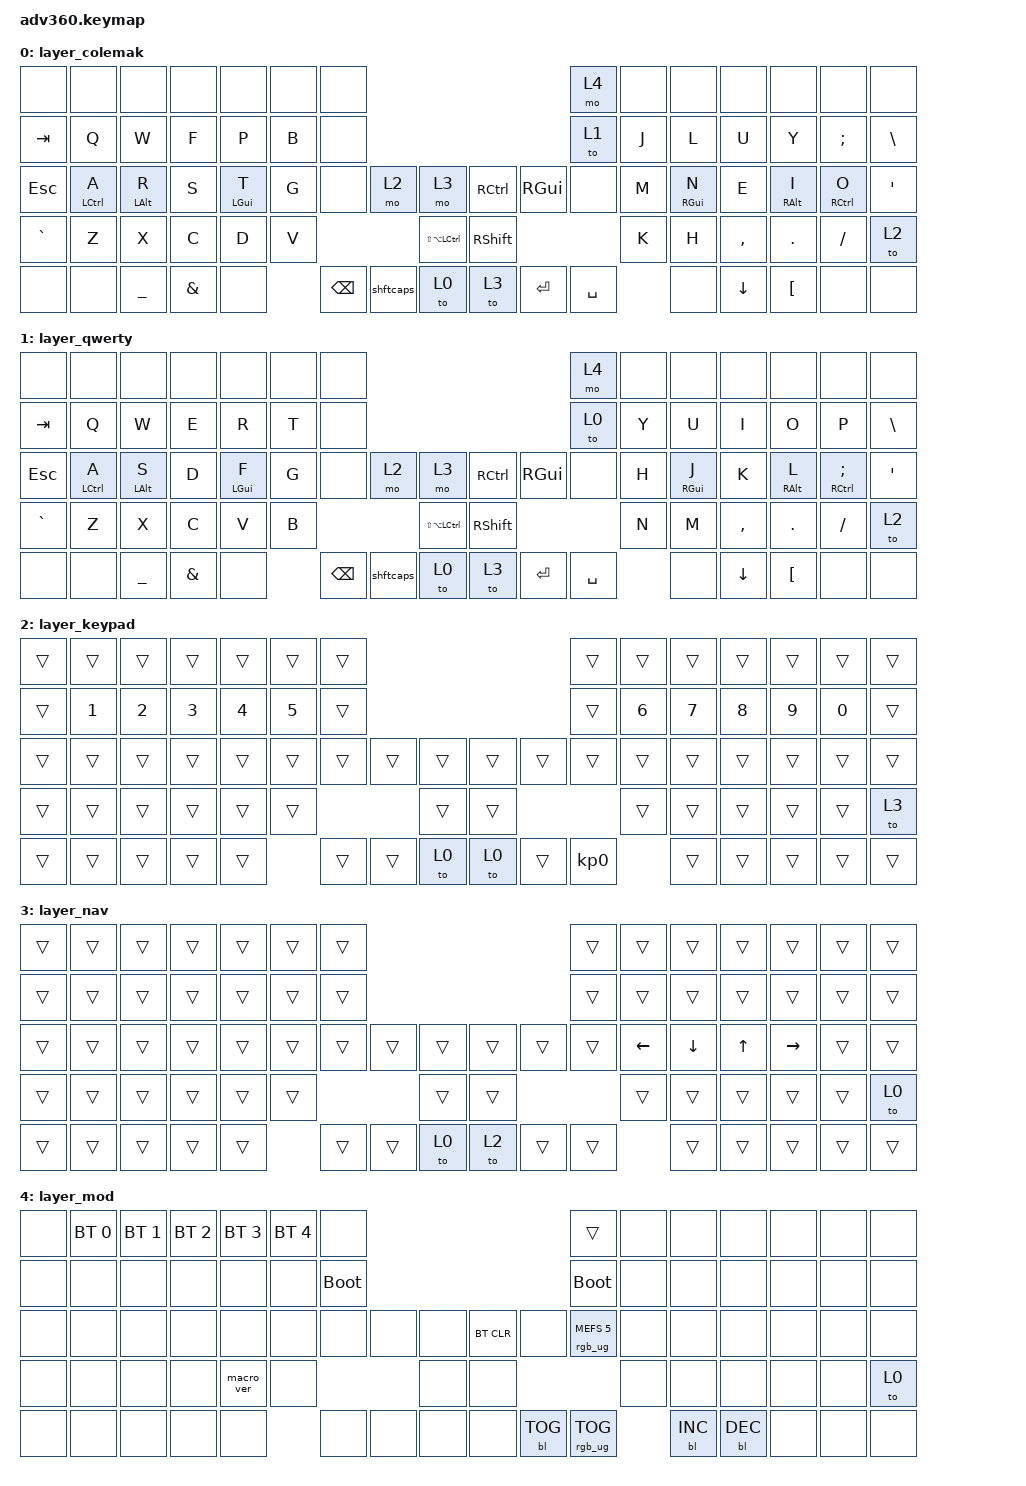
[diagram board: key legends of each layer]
/*
 * Copyright (c) 2020 The ZMK Contributors
 *
 * SPDX-License-Identifier: MIT
 */
/* THIS FILE WAS GENERATED!
 *
 * This file was generated automatically. You may or may not want to
 * edit it directly.
 */

#include "keydef.h"
#include <behaviors.dtsi>
#include <dt-bindings/zmk/backlight.h>
#include <dt-bindings/zmk/bt.h>
#include <dt-bindings/zmk/keys.h>
#include <dt-bindings/zmk/rgb.h>

#define LHYPER LS(LA(LC(LGUI)))
#define RHYPER RS(RA(RC(RGUI)))
#define LMEH   LS(LA(LCTL))
#define RMEH   RS(RA(RCTL))

#define HM_TAPPING_TERM 300
#define HM_QUICK_TAP    175
#define HM_PRIOR_IDLE   150

#define COMBO_H_TIMEOUT 18
#define COMBO_H_IDLE    150
#define COMBO_V_IDLE    50
#define COMBO_V_TIMEOUT 50

/ {
    combos {
        compatible = "zmk,combos";
        combo_braces {
            timeout-ms = <COMBO_H_TIMEOUT>;
            require-prior-idle-ms = <COMBO_H_IDLE>;
            key-positions = <LT2 LT3>;
            bindings = <&braces>;
            layers = <0 1 2>;
        };

        combo_parens {
            timeout-ms = <COMBO_H_TIMEOUT>;
            require-prior-idle-ms = <COMBO_H_IDLE>;
            key-positions = <LT3 LT4>;
            bindings = <&parens>;
            layers = <0 1 2>;
        };

        combo_brackets {
            timeout-ms = <COMBO_H_TIMEOUT>;
            require-prior-idle-ms = <COMBO_H_IDLE>;
            key-positions = <LT1 LT2>;
            bindings = <&brackets>;
            layers = <0 1 2>;
        };

        combo_equals {
            timeout-ms = <COMBO_H_TIMEOUT>;
            require-prior-idle-ms = <COMBO_H_IDLE>;
            key-positions = <LM1 LM2>;
            bindings = <&kp EQUAL>;
            layers = <0 1 2>;
        };

        combo_minus {
            timeout-ms = <COMBO_H_TIMEOUT>;
            require-prior-idle-ms = <COMBO_H_IDLE>;
            key-positions = <LM2 LM3>;
            bindings = <&kp MINUS>;
            layers = <0 1 2>;
        };

        combo_plus {
            timeout-ms = <COMBO_H_TIMEOUT>;
            require-prior-idle-ms = <COMBO_H_IDLE>;
            key-positions = <LM3 LM4>;
            bindings = <&kp PLUS>;
            layers = <0 1 2>;
        };

        combo_dollarsign {
            timeout-ms = <COMBO_H_TIMEOUT>;
            require-prior-idle-ms = <COMBO_H_IDLE>;
            key-positions = <LB1 LB2>;
            bindings = <&kp DOLLAR>;
            layers = <0 1 2>;
        };

        combo_percent {
            timeout-ms = <COMBO_H_TIMEOUT>;
            require-prior-idle-ms = <COMBO_H_IDLE>;
            key-positions = <LB2 LB3>;
            bindings = <&kp PERCENT>;
            layers = <0 1 2>;
        };

        combo_carat {
            timeout-ms = <COMBO_H_TIMEOUT>;
            require-prior-idle-ms = <COMBO_H_IDLE>;
            key-positions = <LB3 LB4>;
            bindings = <&kp CARET>;
            layers = <0 1 2>;
        };

        combo_exclamation {
            timeout-ms = <COMBO_H_TIMEOUT>;
            require-prior-idle-ms = <COMBO_H_IDLE>;
            key-positions = <RT2 RT3>;
            bindings = <&kp EXCLAMATION>;
            layers = <0>;
        };

        combo_amp {
            timeout-ms = <COMBO_H_TIMEOUT>;
            require-prior-idle-ms = <COMBO_H_IDLE>;
            key-positions = <RT3 RT4>;
            bindings = <&kp AMPERSAND>;
            layers = <0>;
        };

        combo_ast {
            timeout-ms = <COMBO_H_TIMEOUT>;
            require-prior-idle-ms = <COMBO_H_IDLE>;
            key-positions = <RT4 RT5>;
            bindings = <&kp STAR>;
            layers = <0>;
        };

        combo_at {
            timeout-ms = <COMBO_H_TIMEOUT>;
            require-prior-idle-ms = <COMBO_H_IDLE>;
            key-positions = <RM2 RM3>;
            bindings = <&kp AT>;
            layers = <0>;
        };

        combo_arrow {
            timeout-ms = <COMBO_H_TIMEOUT>;
            require-prior-idle-ms = <COMBO_H_IDLE>;
            key-positions = <RB2 RB3>;
            bindings = <&rarrow>;
            layers = <0>;
        };
    };

    behaviors {
        #include "version.dtsi"

        // Macros
        rarrow: rarrow {
            compatible = "zmk,behavior-macro";
            label = "macro_rarrow";
            #binding-cells = <0>;
            bindings = <&kp MINUS>, <&kp GT>;
        };

        braces: braces {
            compatible = "zmk,behavior-macro";
            label = "macro_braces";
            #binding-cells = <0>;
            bindings = <&kp LBRC>, <&kp RBRC>, <&kp LEFT>;
        };

        parens: parens {
            compatible = "zmk,behavior-macro";
            label = "macro_parens";
            #binding-cells = <0>;
            bindings = <&kp LPAR>, <&kp RPAR>, <&kp LEFT>;
        };

        brackets: brackets {
            compatible = "zmk,behavior-macro";
            label = "macro_brackets";
            #binding-cells = <0>;
            bindings = <&kp LBKT>, <&kp RBKT>, <&kp LEFT>;
        };

        hml: homerow_mods_l {
            compatible = "zmk,behavior-hold-tap";
            label = "HOMEROW_MODS";
            #binding-cells = <2>;
            tapping-term-ms = <HM_TAPPING_TERM>;
            quick-tap-ms = <HM_QUICK_TAP>;
            require-prior-idle-ms = <HM_PRIOR_IDLE>;
            flavor = "balanced";
            bindings = <&kp>, <&kp>;
            hold-trigger-key-positions = <RKEYS THUMBS>;
            hold-trigger-on-release;
        };

        hmr: homerow_mods_r {
            compatible = "zmk,behavior-hold-tap";
            label = "HOMEROW_MODS";
            #binding-cells = <2>;
            tapping-term-ms = <HM_TAPPING_TERM>;
            quick-tap-ms = <HM_QUICK_TAP>;
            require-prior-idle-ms = <HM_PRIOR_IDLE>;
            flavor = "balanced";
            bindings = <&kp>, <&kp>;
            hold-trigger-key-positions = <LKEYS THUMBS>;
            hold-trigger-on-release;
        };

        shftcaps: shftcaps {
            compatible = "zmk,behavior-tap-dance";
            #binding-cells = <0>;
            tapping-term-ms = <100>;
            bindings = <&mt LSHFT &caps_word>, <&kp CAPS>;
        };
    };

    keymap {
        compatible = "zmk,keymap";
        // 0
        layer_colemak {
            bindings = <
//0        1             2            3           4             5       6                                                        7          8         9              10           11            12              13
&none      &none         &none        &none       &none         &none   &none                                                    &mo 4      &none     &none          &none        &none         &none           &none
//14       15            16           17          18            19      20                                                       21         22        23             24           25            26              27
&kp TAB    &kp Q         &kp W        &kp F       &kp P         &kp B   &none                                                    &to 1      &kp J     &kp L          &kp U        &kp Y         &kp SEMI        &kp BSLH
//28       29            30           31          32            33      34        35        36            37         38          39         40        41             42           43            44              45
&kp ESC    &hml LCTL A   &hml LALT R  &kp S       &hml LGUI T   &kp G   &none     &mo 2      &mo 3         &kp RCTRL  &kp RGUI   &none      &kp M     &hmr RGUI N    &kp E        &hmr RALT I   &hmr RCTRL O    &kp SQT
//46       47            48           49          50            51                           52            53                               54        55             56           57            58              59
&kp GRAVE  &kp Z         &kp X        &kp C       &kp D         &kp V                        &kp LMEH      &kp RSHFT                        &kp K     &kp H          &kp COMMA    &kp DOT       &kp FSLH        &to 2
//60       61            62           63          64                    65        66         67            68         69         70                   71             72           73            74              75
&none      &none         &kp UNDER    &kp AMPS    &none                 &kp BSPC  &shftcaps  &to 0         &to 3      &kp ENTER  &kp SPACE            &none          &kp DOWN     &kp LBKT      &none           &none
            >;
        };


        // 1
        layer_qwerty {
            bindings = <
//0        1             2            3            4             5       6                                                       7          8         9              10           11            12              13
&none      &none         &none        &none       &none         &none   &none                                                    &mo 4      &none     &none          &none        &none         &none           &none
//14       15            16           17          18            19      20                                                       21         22        23             24           25            26              27
&kp TAB    &kp Q         &kp W        &kp E       &kp R         &kp T   &none                                                    &to 0      &kp Y     &kp U          &kp I        &kp O         &kp P           &kp BSLH
//28       29            30           31          32            33      34        35        36             37         38         39         40        41             42           43            44              45
&kp ESC    &hml LCTL A   &hml LALT S  &kp D       &hml LGUI F   &kp G   &none     &mo 2      &mo 3         &kp RCTRL  &kp RGUI   &none      &kp H     &hmr RGUI J    &kp K        &hmr RALT L   &hmr RCTRL SEMI &kp SQT
//46       47            48           49          50            51                           52            53                               54        55             56           57            58              59
&kp GRAVE  &kp Z         &kp X        &kp C       &kp V         &kp B                        &kp LMEH      &kp RSHFT                        &kp N     &kp M          &kp COMMA    &kp DOT       &kp FSLH        &to 2
//60       61            62           63          64                    65        66         67            68         69         70                   71             72           73            74              75
&none      &none         &kp UNDER    &kp AMPS    &none                 &kp BSPC  &shftcaps  &to 0         &to 3      &kp ENTER  &kp SPACE            &none          &kp DOWN     &kp LBKT      &none           &none
            >;
        };

        // 2
        layer_keypad {
            bindings = <
&trans     &trans      &trans    &trans    &trans     &trans  &trans                                          &trans      &trans    &trans     &trans      &trans     &trans    &trans
&trans     &kp N1      &kp N2    &kp N3    &kp N4     &kp N5  &trans                                          &trans      &kp N6    &kp N7     &kp N8      &kp N9     &kp N0    &trans
&trans     &trans      &trans    &trans    &trans     &trans  &trans     &trans  &trans      &trans  &trans   &trans      &trans    &trans     &trans      &trans     &trans    &trans
&trans     &trans      &trans    &trans    &trans     &trans                     &trans      &trans                       &trans    &trans     &trans      &trans     &trans    &to 3
&trans     &trans      &trans    &trans    &trans             &trans     &trans  &to 0       &to 0   &trans   &kp KP_N0             &trans     &trans      &trans     &trans    &trans
            >;
        };

        // 3
        layer_nav {
            bindings = <
&trans     &trans    &trans     &trans     &trans     &trans      &trans                                         &trans  &trans    &trans     &trans   &trans     &trans     &trans
&trans     &trans    &trans     &trans     &trans     &trans      &trans                                         &trans  &trans    &trans     &trans   &trans     &trans     &trans
&trans     &trans    &trans     &trans     &trans     &trans      &trans    &trans  &trans       &trans  &trans  &trans  &kp LEFT  &kp DOWN   &kp UP   &kp RIGHT  &trans     &trans
&trans     &trans    &trans     &trans     &trans     &trans                        &trans       &trans                  &trans    &trans     &trans   &trans     &trans     &to 0
&trans     &trans    &trans     &trans     &trans                 &trans    &trans  &to 0        &to 2  &trans   &trans            &trans     &trans   &trans     &trans     &trans
            >;
        };

        // 4
        layer_mod {
            bindings = <
&none  &bt BT_SEL 0  &bt BT_SEL 1  &bt BT_SEL 2  &bt BT_SEL 3  &bt BT_SEL 4  &none                                                  &trans                  &none  &none       &none       &none  &none  &none
&none  &none         &none         &none         &none         &none         &bootloader                                            &bootloader             &none  &none       &none       &none  &none  &none
&none  &none         &none         &none         &none         &none         &none        &none  &none      &bt BT_CLR  &none       &rgb_ug RGB_MEFS_CMD 5  &none  &none       &none       &none  &none  &none
&none  &none         &none         &none         &macro_ver    &none                             &none      &none                                           &none  &none       &none       &none  &none  &to 0
&none  &none         &none         &none         &none                       &none        &none  &none      &none       &bl BL_TOG  &rgb_ug RGB_TOG                &bl BL_INC  &bl BL_DEC  &none  &none  &none
            >;
        };

    };
};
